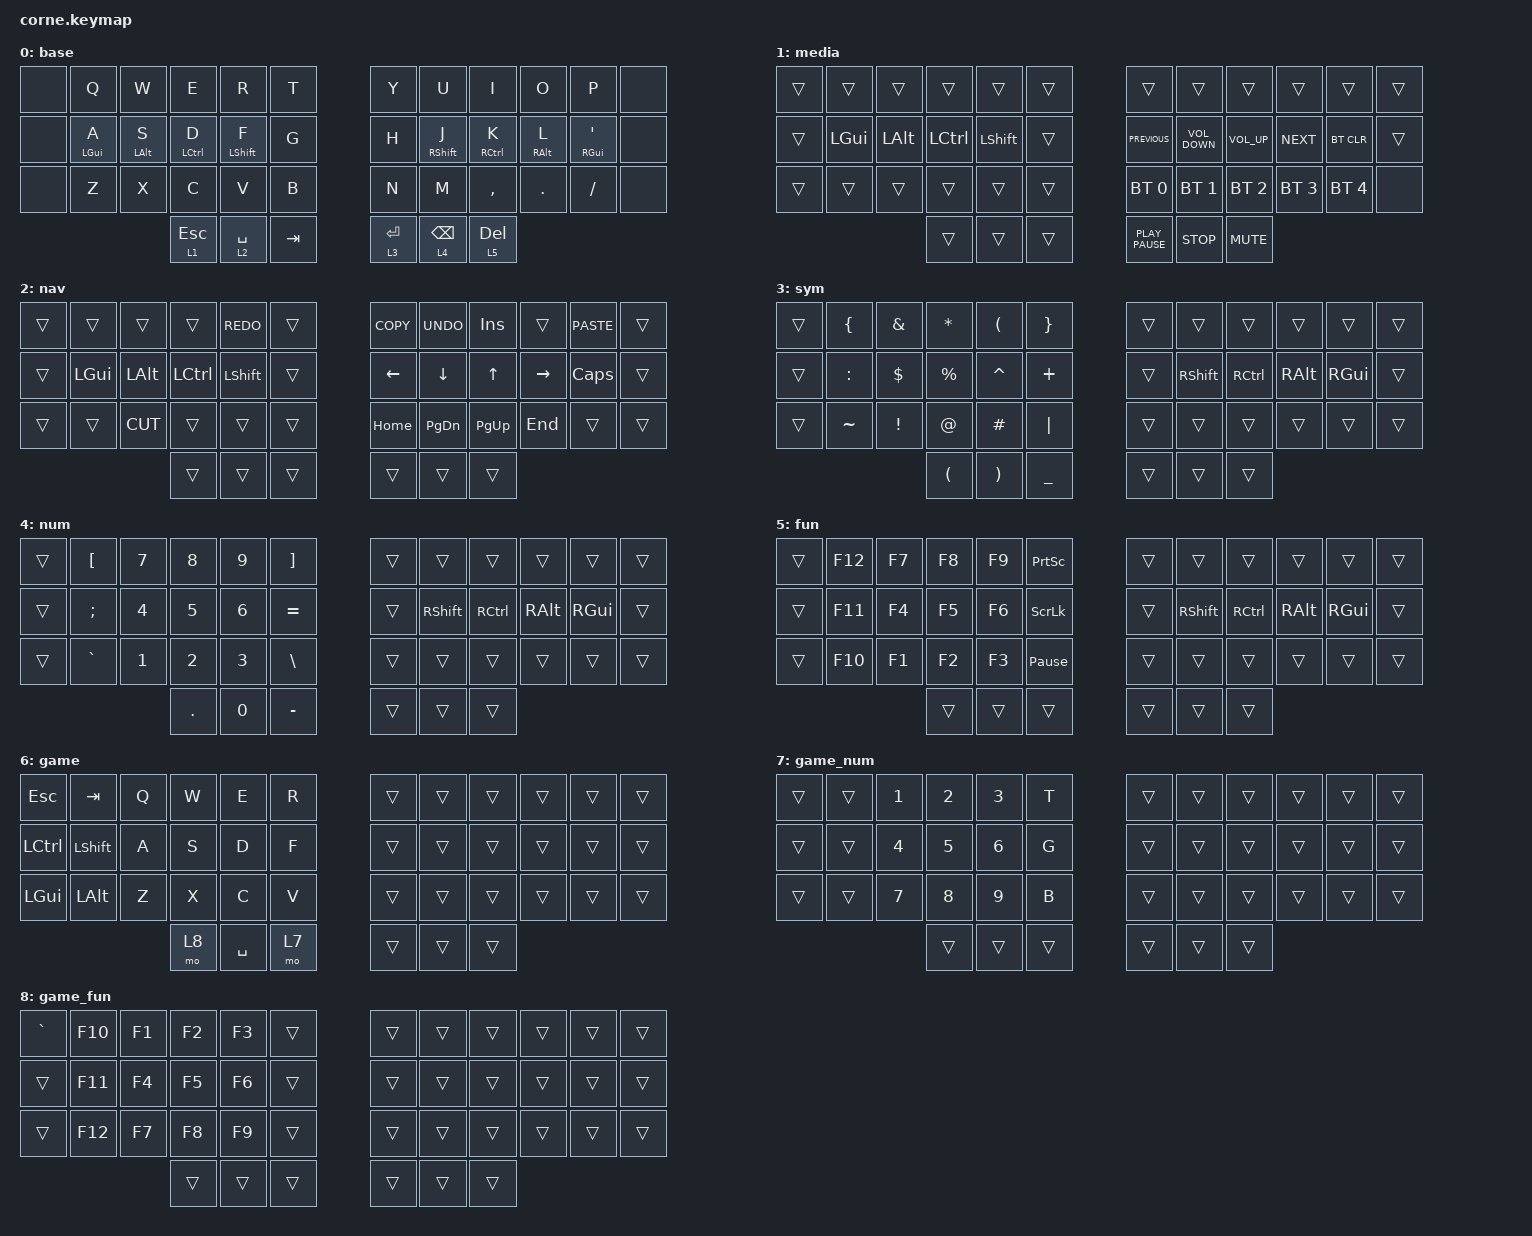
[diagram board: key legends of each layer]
/*
 * Copyright (c) 2020 The ZMK Contributors
 *
 * SPDX-License-Identifier: MIT
 */

#include <behaviors.dtsi>
#include <dt-bindings/zmk/bt.h>
#include <dt-bindings/zmk/keys.h>

/ {
    combos {
        compatible = "zmk,combos";

        combo_game {
            bindings = <&tog 6>;
            key-positions = <36 41>;
        };
    };

    behaviors {
        hml: hml {
            compatible = "zmk,behavior-hold-tap";
            label = "HML";
            bindings = <&kp>, <&kp>;

            #binding-cells = <2>;
            tapping-term-ms = <220>;
            quick-tap-ms = <175>;
            flavor = "balanced";
            require-prior-idle-ms = <100>;
            hold-trigger-key-positions = <39 40 41 30 18 6 7 9 10 11 18 19 20 21 22 23 30 31 32 33 34 35 40 41 8 36 37 38>;
            hold-trigger-on-release;
        };

        hmr: hmr {
            compatible = "zmk,behavior-hold-tap";
            label = "HMR";
            bindings = <&kp>, <&kp>;

            #binding-cells = <2>;
            tapping-term-ms = <220>;
            quick-tap-ms = <175>;
            require-prior-idle-ms = <100>;
            flavor = "balanced";
            hold-trigger-key-positions = <0 1 2 3 4 5 12 13 14 15 16 17 24 25 26 27 28 29 36 37 38 39 40 41>;
            hold-trigger-on-release;
        };

        tkl: tkl {
            compatible = "zmk,behavior-hold-tap";
            label = "TKL";
            bindings = <&mo>, <&kp>;

            #binding-cells = <2>;
            tapping-term-ms = <220>;
            quick-tap-ms = <175>;
            flavor = "balanced";
            require-prior-idle-ms = <100>;
            hold-trigger-key-positions = <39 40 41 30 18 6 7 9 10 11 18 19 20 21 22 23 30 31 32 33 34 35 40 41 8 38 37 36>;
            hold-trigger-on-release;
        };

        tkr: tkr {
            compatible = "zmk,behavior-hold-tap";
            label = "TKR";
            bindings = <&mo>, <&kp>;

            #binding-cells = <2>;
            tapping-term-ms = <220>;
            quick-tap-ms = <175>;
            require-prior-idle-ms = <100>;
            flavor = "balanced";
            hold-trigger-key-positions = <0 1 2 3 4 5 12 13 14 15 16 17 24 25 26 27 28 29 36 37 38 39 40 41>;
            hold-trigger-on-release;
        };
    };

    keymap {
        compatible = "zmk,keymap";

        base {
            // -----------------------------------------------------------------------------------------
            // |  TAB |  Q  |  W  |  E  |  R  |  T  |   |  Y  |  U   |  I  |  O  |  P  | BKSP |
            // | CTRL |  A  |  S  |  D  |  F  |  G  |   |  H  |  J   |  K  |  L  |  ;  |  '   |
            // | SHFT |  Z  |  X  |  C  |  V  |  B  |   |  N  |  M   |  ,  |  .  |  /  | ESC  |
            //                    | GUI | LWR | SPC |   | ENT | RSE  | ALT |

            bindings = <
&none  &kp Q            &kp W            &kp E                &kp R              &kp T      &kp Y         &kp U               &kp I                 &kp O             &kp P               &none
&none  &hml LEFT_GUI A  &hml LEFT_ALT S  &hml LEFT_CONTROL D  &hml LEFT_SHIFT F  &kp G      &kp H         &hmr RIGHT_SHIFT J  &hmr RIGHT_CONTROL K  &hmr RIGHT_ALT L  &hmr RIGHT_GUI SQT  &none
&none  &kp Z            &kp X            &kp C                &kp V              &kp B      &kp N         &kp M               &kp COMMA             &kp DOT           &kp FSLH            &none
                                         &tkl 1 ESCAPE        &tkl 2 SPACE       &kp TAB    &tkr 3 ENTER  &tkr 4 BACKSPACE    &tkr 5 DELETE
            >;
        };

        media {
            bindings = <
&trans  &trans    &trans    &trans     &trans     &trans    &trans            &trans             &trans           &trans        &trans        &trans
&trans  &kp LGUI  &kp LALT  &kp LCTRL  &kp LSHFT  &trans    &kp K_PREVIOUS    &kp K_VOLUME_DOWN  &kp K_VOLUME_UP  &kp K_NEXT    &bt BT_CLR    &trans
&trans  &trans    &trans    &trans     &trans     &trans    &bt BT_SEL 0      &bt BT_SEL 1       &bt BT_SEL 2     &bt BT_SEL 3  &bt BT_SEL 4  &none
                            &trans     &trans     &trans    &kp K_PLAY_PAUSE  &kp K_STOP         &kp K_MUTE
            >;
        };

        nav {
            bindings = <
&trans  &trans    &trans     &trans     &kp K_REDO  &trans    &kp K_COPY      &kp K_UNDO      &kp INSERT    &trans     &kp K_PASTE   &trans
&trans  &kp LGUI  &kp LALT   &kp LCTRL  &kp LSHFT   &trans    &kp LEFT_ARROW  &kp DOWN_ARROW  &kp UP_ARROW  &kp RIGHT  &kp CAPSLOCK  &trans
&trans  &trans    &kp K_CUT  &trans     &trans      &trans    &kp HOME        &kp PAGE_DOWN   &kp PAGE_UP   &kp END    &trans        &trans
                             &trans     &trans      &trans    &trans          &trans          &trans
            >;
        };

        sym {
            // -----------------------------------------------------------------------------------------
            // |  TAB |  1  |  2  |  3  |  4  |  5  |   |  6  |  7  |  8  |  9  |  0  | BKSP |
            // | BTCLR| BT1 | BT2 | BT3 | BT4 | BT5 |   | LFT | DWN |  UP | RGT |     |      |
            // | SHFT |     |     |     |     |     |   |     |     |     |     |     |      |
            //                    | GUI |     | SPC |   | ENT |     | ALT |

            bindings = <
&trans  &kp LEFT_BRACE  &kp AMPERSAND    &kp ASTERISK          &kp LEFT_PARENTHESIS   &kp RIGHT_BRACE    &trans  &trans     &trans     &trans    &trans    &trans
&trans  &kp COLON       &kp DOLLAR       &kp PERCENT           &kp CARET              &kp PLUS           &trans  &kp RSHFT  &kp RCTRL  &kp RALT  &kp RGUI  &trans
&trans  &kp TILDE       &kp EXCLAMATION  &kp AT                &kp HASH               &kp PIPE           &trans  &trans     &trans     &trans    &trans    &trans
                                         &kp LEFT_PARENTHESIS  &kp RIGHT_PARENTHESIS  &kp UNDER          &trans  &trans     &trans
            >;
        };

        num {
            bindings = <
&trans  &kp LBKT   &kp N7  &kp N8   &kp N9  &kp RBKT     &trans  &trans     &trans     &trans    &trans    &trans
&trans  &kp SEMI   &kp N4  &kp N5   &kp N6  &kp EQUAL    &trans  &kp RSHFT  &kp RCTRL  &kp RALT  &kp RGUI  &trans
&trans  &kp GRAVE  &kp N1  &kp N2   &kp N3  &kp BSLH     &trans  &trans     &trans     &trans    &trans    &trans
                           &kp DOT  &kp N0  &kp MINUS    &trans  &trans     &trans
            >;
        };

        fun {
            bindings = <
&trans  &kp F12  &kp F7  &kp F8  &kp F9  &kp PRINTSCREEN    &trans  &trans     &trans     &trans    &trans    &trans
&trans  &kp F11  &kp F4  &kp F5  &kp F6  &kp SCROLLLOCK     &trans  &kp RSHFT  &kp RCTRL  &kp RALT  &kp RGUI  &trans
&trans  &kp F10  &kp F1  &kp F2  &kp F3  &kp PAUSE_BREAK    &trans  &trans     &trans     &trans    &trans    &trans
                         &trans  &trans  &trans             &trans  &trans     &trans
            >;
        };

        game {
            bindings = <
&kp ESCAPE        &kp TAB         &kp Q  &kp W  &kp E      &kp R    &trans  &trans  &trans  &trans  &trans  &trans
&kp LEFT_CONTROL  &kp LEFT_SHIFT  &kp A  &kp S  &kp D      &kp F    &trans  &trans  &trans  &trans  &trans  &trans
&kp LEFT_GUI      &kp LEFT_ALT    &kp Z  &kp X  &kp C      &kp V    &trans  &trans  &trans  &trans  &trans  &trans
                                         &mo 8  &kp SPACE  &mo 7    &trans  &trans  &trans
            >;
        };

        game_num {
            bindings = <
&trans  &trans  &kp N1  &kp N2  &kp N3  &kp T     &trans  &trans  &trans  &trans  &trans  &trans
&trans  &trans  &kp N4  &kp N5  &kp N6  &kp G     &trans  &trans  &trans  &trans  &trans  &trans
&trans  &trans  &kp N7  &kp N8  &kp N9  &kp B     &trans  &trans  &trans  &trans  &trans  &trans
                        &trans  &trans  &trans    &trans  &trans  &trans
            >;
        };

        game_fun {
            bindings = <
&kp GRAVE  &kp F10  &kp F1  &kp F2  &kp F3  &trans    &trans  &trans  &trans  &trans  &trans  &trans
&trans     &kp F11  &kp F4  &kp F5  &kp F6  &trans    &trans  &trans  &trans  &trans  &trans  &trans
&trans     &kp F12  &kp F7  &kp F8  &kp F9  &trans    &trans  &trans  &trans  &trans  &trans  &trans
                            &trans  &trans  &trans    &trans  &trans  &trans
            >;
        };
    };
};
